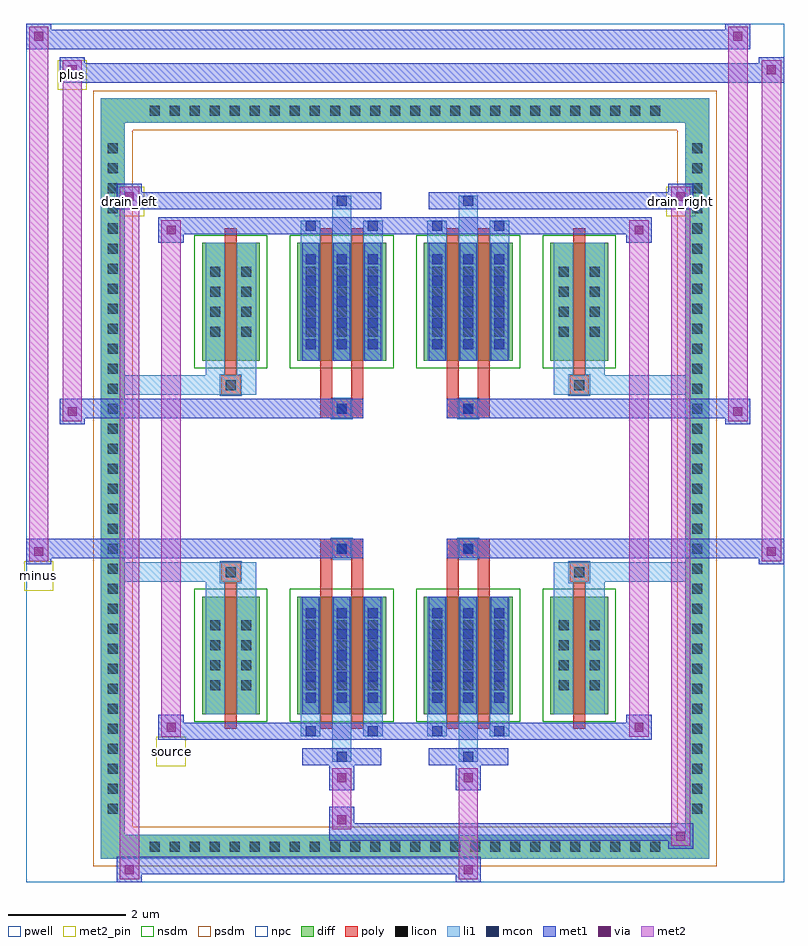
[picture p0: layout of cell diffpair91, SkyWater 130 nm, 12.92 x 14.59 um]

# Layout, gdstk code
import gdstk
lib = gdstk.Library(unit=1e-6, precision=5e-09)
def R(c, l, rs):  # rectangles x0, y0, x1, y1
    for r in rs: c.add(gdstk.rectangle(r[:2], r[2:], *l))
def A(c, l, x, y, w, h, nx, ny, dx, dy):  # array of equal rectangles
    R(c, l, [(x+i*dx, y+j*dy, x+i*dx+w, y+j*dy+h) for i in range(nx) for j in range(ny)])
def P(c, l, *ps):  # polygons
    for p in ps: c.add(gdstk.Polygon(p, *l))
pwell = (64, 44)
diff = (65, 20)
poly = (66, 20)
licon = (66, 44)
li1 = (67, 20)
mcon = (67, 44)
met1 = (68, 20)
via = (68, 44)
met2_pin = (69, 16)
met2 = (69, 20)
nsdm = (93, 44)
psdm = (94, 20)
npc = (95, 20)

diffpair91 = lib.new_cell('diffpair91')
R(diffpair91, pwell, [(-6.44,-6.86,6.44,7.73), (-3.76,-5.05,-0.01,-0.825), (0.01,-5.05,3.76,-0.825), (-3.76,0.825,-0.01,5.05), (0.01,0.825,3.76,5.05)])
A(diffpair91, diff, -4.455, -6.46, 0.41, 0.41, 26, 2, 0.34, 12.51)
A(diffpair91, diff, -5.17, -5.815, 0.41, 0.41, 1, 34, 0, 0.34)
A(diffpair91, diff, 4.76, -5.815, 0.41, 0.41, 1, 34, 0, 0.34)
R(diffpair91, diff, [(-4.455,-6.46,4.455,-6.05), (-5.17,-5.815,-4.76,5.815), (4.76,-5.815,5.17,5.815), (-3.45,-4.005,-2.47,-2.005), (-1.83,-4.005,-0.32,-2.005), (0.32,-4.005,1.83,-2.005), (2.47,-4.005,3.45,-2.005), (-3.45,2.005,-2.47,4.005), (-1.83,2.005,-0.32,4.005), (0.32,2.005,1.83,4.005), (2.47,2.005,3.45,4.005), (-4.455,6.05,4.455,6.46)])
P(diffpair91, diff, [(5.17,6.46),(-5.17,6.46),(-5.17,-6.05),(-4.76,-6.05),(-4.76,6.05),(4.76,6.05),(4.76,-6.05),(-4.76,-6.05),(-5.17,-6.05),(-5.17,-6.46),(5.17,-6.46)])
R(diffpair91, poly, [(-3.06,-4.255,-2.86,-1.755), (-1.44,-4.255,-1.24,-1.755), (-0.91,-4.255,-0.71,-1.755), (0.71,-4.255,0.91,-1.755), (1.24,-4.255,1.44,-1.755), (2.86,-4.255,3.06,-1.755), (-3.125,-1.755,-2.795,-1.425), (-3.125,-1.755,-2.795,-1.425), (-1.44,-1.755,-1.24,-1.355), (-0.91,-1.755,-0.71,-1.355), (0.71,-1.755,0.91,-1.355), (1.24,-1.755,1.44,-1.355), (2.795,-1.755,3.125,-1.425), (2.795,-1.755,3.125,-1.425), (-1.44,-1.355,-0.71,-1.025), (-1.24,-1.355,-0.91,-1.025), (0.71,-1.355,1.44,-1.025), (0.91,-1.355,1.24,-1.025), (-1.44,1.025,-0.71,1.355), (-1.24,1.025,-0.91,1.355), (0.71,1.025,1.44,1.355), (0.91,1.025,1.24,1.355), (-1.44,1.355,-1.24,1.755), (-0.91,1.355,-0.71,1.755), (0.71,1.355,0.91,1.755), (1.24,1.355,1.44,1.755), (-3.125,1.425,-2.795,1.755), (-3.125,1.425,-2.795,1.755), (2.795,1.425,3.125,1.755), (2.795,1.425,3.125,1.755), (-3.06,1.755,-2.86,4.255), (-1.44,1.755,-1.24,4.255), (-0.91,1.755,-0.71,4.255), (0.71,1.755,0.91,4.255), (1.24,1.755,1.44,4.255), (2.86,1.755,3.06,4.255)])
A(diffpair91, licon, -4.335, -6.34, 0.17, 0.17, 26, 2, 0.34, 12.51)
A(diffpair91, licon, -5.05, -5.695, 0.17, 0.17, 1, 34, 0, 0.34)
A(diffpair91, licon, 4.88, -5.695, 0.17, 0.17, 1, 34, 0, 0.34)
A(diffpair91, licon, -3.31, -3.6, 0.17, 0.17, 1, 4, 0, 0.34)
A(diffpair91, licon, -2.78, -3.6, 0.17, 0.17, 1, 4, 0, 0.34)
A(diffpair91, licon, -1.69, -3.6, 0.17, 0.17, 3, 4, 0.53, 0.34)
A(diffpair91, licon, 0.46, -3.6, 0.17, 0.17, 3, 4, 0.53, 0.34)
A(diffpair91, licon, 2.61, -3.6, 0.17, 0.17, 1, 4, 0, 0.34)
A(diffpair91, licon, 3.14, -3.6, 0.17, 0.17, 1, 4, 0, 0.34)
A(diffpair91, licon, -3.31, 2.41, 0.17, 0.17, 1, 4, 0, 0.34)
A(diffpair91, licon, -2.78, 2.41, 0.17, 0.17, 1, 4, 0, 0.34)
A(diffpair91, licon, -1.69, 2.41, 0.17, 0.17, 3, 4, 0.53, 0.34)
A(diffpair91, licon, 0.46, 2.41, 0.17, 0.17, 3, 4, 0.53, 0.34)
A(diffpair91, licon, 2.61, 2.41, 0.17, 0.17, 1, 4, 0, 0.34)
A(diffpair91, licon, 3.14, 2.41, 0.17, 0.17, 1, 4, 0, 0.34)
R(diffpair91, licon, [(-3.045,-1.675,-2.875,-1.505), (2.875,-1.675,3.045,-1.505), (-1.16,-1.275,-0.99,-1.105), (0.99,-1.275,1.16,-1.105), (-1.16,1.105,-0.99,1.275), (0.99,1.105,1.16,1.275), (-3.045,1.505,-2.875,1.675), (2.875,1.505,3.045,1.675)])
A(diffpair91, li1, -4.415, -6.42, 0.33, 0.33, 26, 2, 0.34, 12.51)
A(diffpair91, li1, -5.13, -5.775, 0.33, 0.33, 1, 34, 0, 0.34)
A(diffpair91, li1, 4.8, -5.775, 0.33, 0.33, 1, 34, 0, 0.34)
A(diffpair91, li1, -1.77, -4.005, 0.33, 2, 3, 2, 0.53, 6.01)
A(diffpair91, li1, 0.38, -4.005, 0.33, 2, 3, 2, 0.53, 6.01)
A(diffpair91, li1, -1.69, -3.81, 0.17, 0.17, 3, 5, 0.53, 0.36)
A(diffpair91, li1, -1.69, -3.81, 0.17, 1.61, 3, 2, 0.53, 6.01)
A(diffpair91, li1, 0.46, -3.81, 0.17, 0.17, 3, 5, 0.53, 0.36)
A(diffpair91, li1, 0.46, -3.81, 0.17, 1.61, 3, 2, 0.53, 6.01)
A(diffpair91, li1, -3.39, -3.68, 0.33, 0.33, 1, 4, 0, 0.34)
A(diffpair91, li1, -2.86, -3.68, 0.33, 0.33, 1, 4, 0, 0.34)
A(diffpair91, li1, -1.77, -3.68, 0.33, 0.33, 3, 4, 0.53, 0.34)
A(diffpair91, li1, 0.38, -3.68, 0.33, 0.33, 3, 4, 0.53, 0.34)
A(diffpair91, li1, 2.53, -3.68, 0.33, 0.33, 1, 4, 0, 0.34)
A(diffpair91, li1, 3.06, -3.68, 0.33, 0.33, 1, 4, 0, 0.34)
A(diffpair91, li1, -1.69, 2.2, 0.17, 0.17, 3, 5, 0.53, 0.36)
A(diffpair91, li1, 0.46, 2.2, 0.17, 0.17, 3, 5, 0.53, 0.36)
A(diffpair91, li1, -3.39, 2.33, 0.33, 0.33, 1, 4, 0, 0.34)
A(diffpair91, li1, -2.86, 2.33, 0.33, 0.33, 1, 4, 0, 0.34)
A(diffpair91, li1, -1.77, 2.33, 0.33, 0.33, 3, 4, 0.53, 0.34)
A(diffpair91, li1, 0.38, 2.33, 0.33, 0.33, 3, 4, 0.53, 0.34)
A(diffpair91, li1, 2.53, 2.33, 0.33, 0.33, 1, 4, 0, 0.34)
A(diffpair91, li1, 3.06, 2.33, 0.33, 0.33, 1, 4, 0, 0.34)
R(diffpair91, li1, [(-5.17,-6.46,-4.76,-6.05), (-5.17,-6.46,-4.76,-6.05), (-4.76,-6.46,4.76,-6.05), (4.76,-6.46,5.17,-6.05), (4.76,-6.46,5.17,-6.05), (-5.17,-6.05,-4.76,6.05), (4.76,-6.05,5.17,6.05), (-1.24,-4.81,-0.91,-4.005), (-1.16,-4.81,-0.99,-4.64), (0.91,-4.81,1.24,-4.005), (0.99,-4.81,1.16,-4.64), (-1.77,-4.38,-1.44,-4.005), (-1.69,-4.38,-1.52,-4.21), (-0.71,-4.38,-0.38,-4.005), (-0.63,-4.38,-0.46,-4.21), (0.38,-4.38,0.71,-4.005), (0.46,-4.38,0.63,-4.21), (1.44,-4.38,1.77,-4.005), (1.52,-4.38,1.69,-4.21), (-3.39,-4.005,-3.06,-2.005), (-2.86,-4.005,-2.53,-2.005), (2.53,-4.005,2.86,-2.005), (3.06,-4.005,3.39,-2.005), (-3.39,-2.005,-3.06,-1.425), (-2.86,-2.005,-2.53,-1.425), (2.53,-2.005,2.86,-1.425), (3.06,-2.005,3.39,-1.425), (-5.17,-1.755,-3.125,-1.425), (-3.39,-1.755,-3.125,-1.425), (-3.125,-1.755,-2.795,-1.425), (-2.795,-1.755,-2.53,-1.425), (2.53,-1.755,2.795,-1.425), (2.795,-1.755,3.125,-1.425), (2.795,-1.755,5.17,-1.425), (3.125,-1.755,3.39,-1.425), (-1.24,-1.355,-0.91,-1.025), (0.91,-1.355,1.24,-1.025), (-1.24,1.025,-0.91,1.355), (0.91,1.025,1.24,1.355), (-5.17,1.425,-3.125,1.755), (-3.39,1.425,-3.125,1.755), (-3.39,1.425,-3.06,2.005), (-3.125,1.425,-2.795,1.755), (-2.86,1.425,-2.53,2.005), (-2.795,1.425,-2.53,1.755), (2.53,1.425,2.795,1.755), (2.53,1.425,2.86,2.005), (2.795,1.425,3.125,1.755), (2.795,1.425,5.17,1.755), (3.06,1.425,3.39,2.005), (3.125,1.425,3.39,1.755), (-3.39,2.005,-3.06,4.005), (-2.86,2.005,-2.53,4.005), (2.53,2.005,2.86,4.005), (3.06,2.005,3.39,4.005), (-1.77,4.005,-1.44,4.38), (-1.24,4.005,-0.91,4.81), (-0.71,4.005,-0.38,4.38), (0.38,4.005,0.71,4.38), (0.91,4.005,1.24,4.81), (1.44,4.005,1.77,4.38), (-1.69,4.21,-1.52,4.38), (-0.63,4.21,-0.46,4.38), (0.46,4.21,0.63,4.38), (1.52,4.21,1.69,4.38), (-1.16,4.64,-0.99,4.81), (0.99,4.64,1.16,4.81), (-5.17,6.05,-4.76,6.46), (-5.17,6.05,-4.76,6.46), (-4.76,6.05,4.76,6.46), (4.76,6.05,5.17,6.46), (4.76,6.05,5.17,6.46)])
A(diffpair91, mcon, -1.69, -3.81, 0.17, 0.17, 3, 5, 0.53, 0.36)
A(diffpair91, mcon, 0.46, -3.81, 0.17, 0.17, 3, 5, 0.53, 0.36)
A(diffpair91, mcon, -1.69, 2.2, 0.17, 0.17, 3, 5, 0.53, 0.36)
A(diffpair91, mcon, 0.46, 2.2, 0.17, 0.17, 3, 5, 0.53, 0.36)
R(diffpair91, mcon, [(-1.16,-4.81,-0.99,-4.64), (0.99,-4.81,1.16,-4.64), (-1.69,-4.38,-1.52,-4.21), (-0.63,-4.38,-0.46,-4.21), (0.46,-4.38,0.63,-4.21), (1.52,-4.38,1.69,-4.21), (-1.16,-1.275,-0.99,-1.105), (0.99,-1.275,1.16,-1.105), (-1.16,1.105,-0.99,1.275), (0.99,1.105,1.16,1.275), (-1.69,4.21,-1.52,4.38), (-0.63,4.21,-0.46,4.38), (0.46,4.21,0.63,4.38), (1.52,4.21,1.69,4.38), (-1.16,4.64,-0.99,4.81), (0.99,4.64,1.16,4.81)])
A(diffpair91, met1, -1.75, -4.005, 0.29, 2, 3, 2, 0.53, 6.01)
A(diffpair91, met1, 0.4, -4.005, 0.29, 2, 3, 2, 0.53, 6.01)
A(diffpair91, met1, -1.75, -3.87, 0.29, 0.29, 3, 5, 0.53, 0.36)
A(diffpair91, met1, 0.4, -3.87, 0.29, 0.29, 3, 5, 0.53, 0.36)
A(diffpair91, met1, -1.75, 2.14, 0.29, 0.29, 3, 5, 0.53, 0.36)
A(diffpair91, met1, 0.4, 2.14, 0.29, 0.29, 3, 5, 0.53, 0.36)
R(diffpair91, met1, [(-4.9,-6.86,-4.47,-6.43), (0.86,-6.86,1.29,-6.43), (-4.9,-6.72,1.29,-6.43), (4.47,-6.29,4.9,-5.86), (-1.29,-6.15,4.9,-5.86), (-1.29,-6.01,-0.86,-5.58), (-1.29,-5.3,-0.86,-4.87), (0.86,-5.3,1.29,-4.87), (-1.75,-4.87,-0.4,-4.58), (-1.22,-4.87,-0.93,-4.58), (0.4,-4.87,1.75,-4.58), (0.93,-4.87,1.22,-4.58), (-4.19,-4.44,-3.76,-4.01), (-4.19,-4.44,-1.75,-4.15), (-1.75,-4.44,-1.46,-4.15), (-1.75,-4.44,-0.4,-4.15), (-0.69,-4.44,-0.4,-4.15), (-0.4,-4.44,0.4,-4.15), (0.4,-4.44,0.69,-4.15), (0.4,-4.44,1.75,-4.15), (1.46,-4.44,1.75,-4.15), (1.75,-4.44,4.19,-4.15), (3.76,-4.44,4.19,-4.01), (-6.44,-1.455,-6.01,-1.025), (6.01,-1.455,6.44,-1.025), (-6.44,-1.355,-0.71,-1.025), (-1.44,-1.355,-0.71,-1.025), (0.71,-1.355,1.44,-1.025), (0.71,-1.355,6.44,-1.025), (-1.22,-1.335,-0.93,-1.045), (0.93,-1.335,1.22,-1.045), (-5.87,0.925,-5.44,1.355), (5.44,0.925,5.87,1.355), (-5.87,1.025,-1.44,1.355), (-1.44,1.025,-0.71,1.355), (0.71,1.025,1.44,1.355), (1.44,1.025,5.87,1.355), (-1.22,1.045,-0.93,1.335), (0.93,1.045,1.22,1.335), (-4.19,4.01,-3.76,4.44), (3.76,4.01,4.19,4.44), (-4.19,4.15,-1.75,4.44), (-1.75,4.15,-1.46,4.44), (-1.75,4.15,-0.4,4.44), (-0.69,4.15,-0.4,4.44), (-0.4,4.15,0.4,4.44), (0.4,4.15,0.69,4.44), (0.4,4.15,1.75,4.44), (1.46,4.15,1.75,4.44), (1.75,4.15,4.19,4.44), (-4.9,4.58,-4.47,5.01), (-4.9,4.58,-1.75,4.87), (-1.75,4.58,-0.4,4.87), (-1.22,4.58,-0.93,4.87), (0.4,4.58,1.75,4.87), (0.93,4.58,1.22,4.87), (1.75,4.58,4.9,4.87), (4.47,4.58,4.9,5.01), (-5.87,6.73,-5.44,7.16), (-5.87,6.73,-3.76,7.06), (-3.76,6.73,3.76,7.06), (3.76,6.73,6.44,7.06), (6.01,6.73,6.44,7.16), (-6.44,7.3,-6.01,7.73), (-6.44,7.3,-3.76,7.63), (-3.76,7.3,3.76,7.63), (3.76,7.3,5.87,7.63), (5.44,7.3,5.87,7.73)])
R(diffpair91, via, [(-4.76,-6.72,-4.61,-6.57), (1,-6.72,1.15,-6.57), (4.61,-6.15,4.76,-6), (-1.15,-5.87,-1,-5.72), (-1.15,-5.16,-1,-5.01), (1,-5.16,1.15,-5.01), (-4.05,-4.3,-3.9,-4.15), (3.9,-4.3,4.05,-4.15), (-6.3,-1.315,-6.15,-1.165), (6.15,-1.315,6.3,-1.165), (-5.73,1.065,-5.58,1.215), (5.58,1.065,5.73,1.215), (-4.05,4.15,-3.9,4.3), (3.9,4.15,4.05,4.3), (-4.76,4.72,-4.61,4.87), (4.61,4.72,4.76,4.87), (-5.73,6.87,-5.58,7.02), (6.15,6.87,6.3,7.02), (-6.3,7.44,-6.15,7.59), (5.58,7.44,5.73,7.59)])
R(diffpair91, met2_pin, [(-4.225,-4.89,-3.725,-4.39), (-6.475,-1.905,-5.975,-1.405), (-4.935,4.46,-4.435,4.96), (4.435,4.46,4.935,4.96), (-5.905,6.61,-5.405,7.11)])
R(diffpair91, met2, [(-4.85,-6.81,-4.52,-6.48), (-4.85,-6.81,-4.52,4.96), (0.91,-6.81,1.24,-6.48), (0.91,-6.48,1.24,-5.25), (4.52,-6.24,4.85,-5.91), (4.52,-6.24,4.85,4.96), (-1.24,-5.96,-0.91,-5.63), (-1.24,-5.63,-0.91,-5.25), (-1.24,-5.25,-0.91,-4.92), (0.91,-5.25,1.24,-4.92), (-4.14,-4.39,-3.81,-4.06), (-4.14,-4.39,-3.81,4.39), (3.81,-4.39,4.14,-4.06), (3.81,-4.39,4.14,4.39), (-6.39,-1.405,-6.06,-1.075), (-6.39,-1.405,-6.06,7.68), (6.06,-1.405,6.39,-1.075), (6.06,-1.405,6.39,7.11), (-5.82,0.975,-5.49,1.305), (-5.82,0.975,-5.49,7.11), (5.49,0.975,5.82,1.305), (5.49,0.975,5.82,7.68), (-4.14,4.06,-3.81,4.39), (3.81,4.06,4.14,4.39), (-4.85,4.63,-4.52,4.96), (4.52,4.63,4.85,4.96), (-5.82,6.78,-5.49,7.11), (6.06,6.78,6.39,7.11), (-6.39,7.35,-6.06,7.68), (5.49,7.35,5.82,7.68)])
P(diffpair91, met2, [(6.39,-1.405),(6.39,-1.405),(6.39,-1.075),(6.39,-1.075)],
  [(6.39,6.78),(6.39,6.78),(6.39,7.11),(6.39,7.11)],
  [(-6.06,-1.405),(-6.06,-1.405),(-6.06,-1.075),(-6.06,-1.075)],
  [(-6.06,7.35),(-6.06,7.35),(-6.06,7.68),(-6.06,7.68)],
  [(5.82,0.975),(5.82,0.975),(5.82,1.305),(5.82,1.305)],
  [(5.82,7.35),(5.82,7.35),(5.82,7.68),(5.82,7.68)],
  [(-5.49,0.975),(-5.49,0.975),(-5.49,1.305),(-5.49,1.305)],
  [(-5.49,6.78),(-5.49,6.78),(-5.49,7.11),(-5.49,7.11)],
  [(-4.52,-6.81),(-4.52,-6.81),(-4.52,-6.48),(-4.52,-6.48)],
  [(-4.52,4.63),(-4.52,4.63),(-4.52,4.96),(-4.52,4.96)],
  [(4.85,-6.24),(4.85,-6.24),(4.85,-5.91),(4.85,-5.91)],
  [(4.85,4.63),(4.85,4.63),(4.85,4.96),(4.85,4.96)],
  [(-3.81,-4.39),(-3.81,-4.39),(-3.81,-4.06),(-3.81,-4.06)],
  [(-3.81,4.06),(-3.81,4.06),(-3.81,4.39),(-3.81,4.39)],
  [(4.14,-4.39),(4.14,-4.39),(4.14,-4.06),(4.14,-4.06)],
  [(4.14,4.06),(4.14,4.06),(4.14,4.39),(4.14,4.39)])
R(diffpair91, nsdm, [(-3.58,-4.135,-2.34,-1.875), (-1.96,-4.135,-0.19,-1.875), (0.19,-4.135,1.96,-1.875), (2.34,-4.135,3.58,-1.875), (-3.58,1.875,-2.34,4.135), (-1.96,1.875,-0.19,4.135), (0.19,1.875,1.96,4.135), (2.34,1.875,3.58,4.135)])
P(diffpair91, psdm, [(5.3,6.59),(-5.3,6.59),(-5.3,-5.92),(-4.63,-5.92),(-4.63,5.92),(4.63,5.92),(4.63,-5.92),(-4.63,-5.92),(-5.3,-5.92),(-5.3,-6.59),(5.3,-6.59)])
R(diffpair91, npc, [(-3.145,-1.775,-2.775,-1.405), (2.775,-1.775,3.145,-1.405), (-1.26,-1.375,-0.89,-1.005), (0.89,-1.375,1.26,-1.005), (-1.26,1.005,-0.89,1.375), (0.89,1.005,1.26,1.375), (-3.145,1.405,-2.775,1.775), (2.775,1.405,3.145,1.775)])
diffpair91.add(gdstk.Label('minus', (-6.225,-1.655), layer=69, texttype=5))
diffpair91.add(gdstk.Label('drain_right', (4.685,4.71), layer=69, texttype=5))
diffpair91.add(gdstk.Label('drain_left', (-4.685,4.71), layer=69, texttype=5))
diffpair91.add(gdstk.Label('source', (-3.975,-4.64), layer=69, texttype=5))
diffpair91.add(gdstk.Label('plus', (-5.655,6.86), layer=69, texttype=5))

lib.write_gds('diffpair91.gds')
